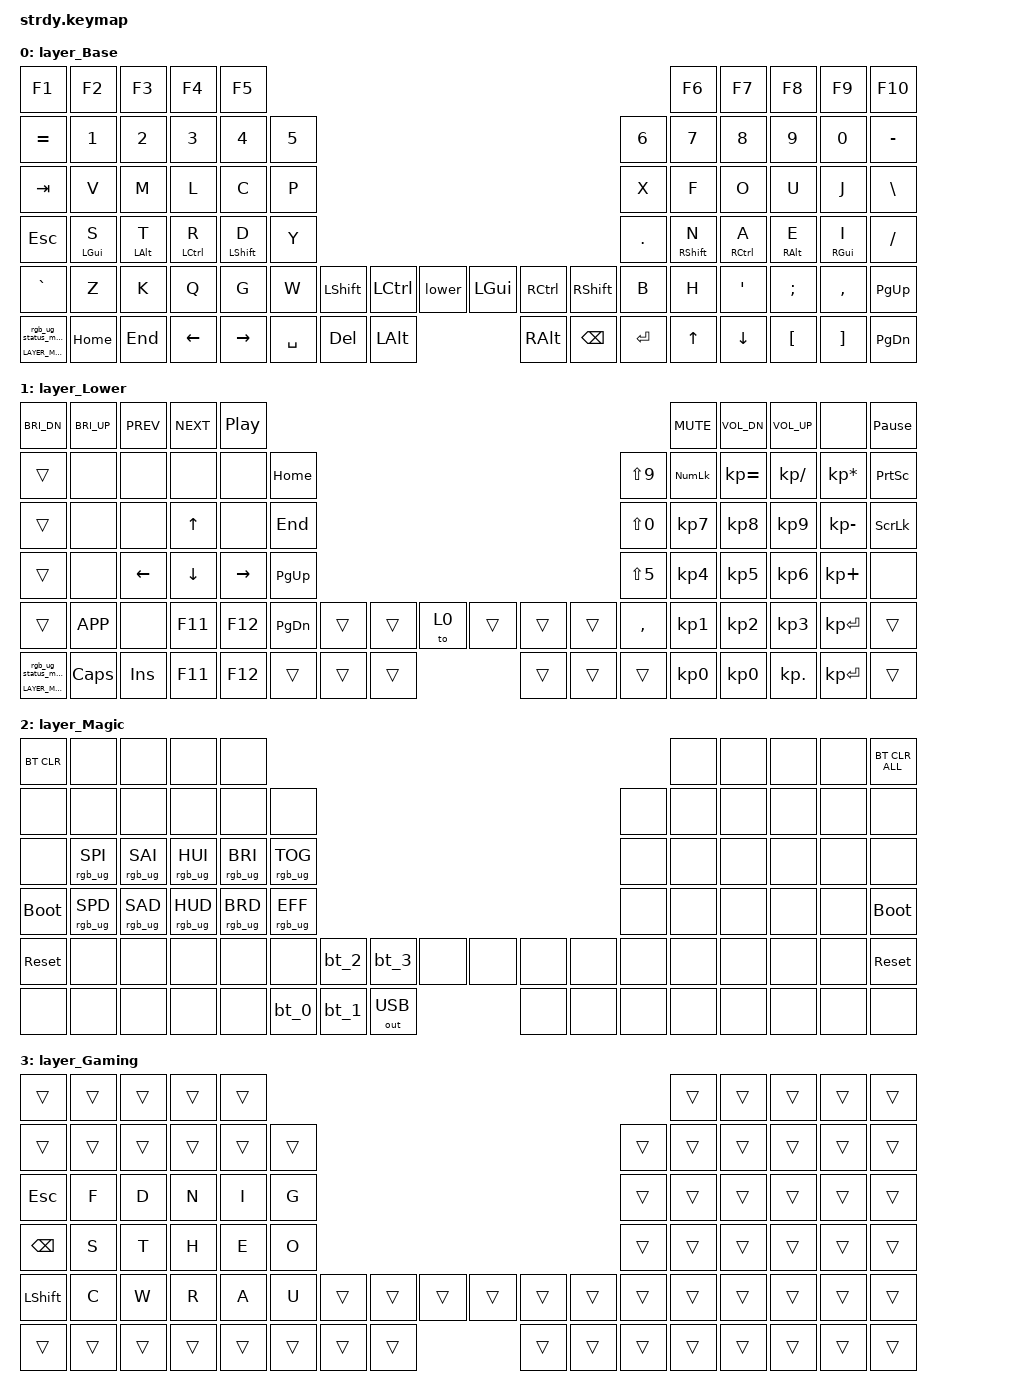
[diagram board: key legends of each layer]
/*
 * Copyright (c) 2020 The ZMK Contributors
 * Copyright (c) 2025 Innaworks Development Limited, trading as MoErgo
 *
 * SPDX-License-Identifier: MIT
 */


/* THIS FILE WAS GENERATED BY GLOVE80 LAYOUT EDITOR
 *
 * This file was generated automatically. You may or may not want to
 * edit it directly.
 */

#include <behaviors.dtsi>
/* Include all behavior includes needed */
#include <dt-bindings/zmk/outputs.h>
#include <dt-bindings/zmk/keys.h>
#include <dt-bindings/zmk/bt.h>
#include <dt-bindings/zmk/rgb.h>

/* On demand includes */


/* Helper Macros, based on https://github.com/urob/zmk-helpers/ */

#pragma once

#define ZMK_HELPER_STRINGIFY(x) #x

// Preprocessor mechanism to overload macros, cf. https://stackoverflow.com/a/27051616/6114651
#define VARGS_(_10, _9, _8, _7, _6, _5, _4, _3, _2, _1, N, ...) N
#define VARGS(...) VARGS_(__VA_ARGS__, 10, 9, 8, 7, 6, 5, 4, 3, 2, 1, 0)
#define CONCAT_(a, b) a##b
#define CONCAT(a, b) CONCAT_(a, b)

#define ZMK_BEHAVIOR_CORE_tap_dance  \
    compatible = "zmk,behavior-tap-dance"; \
    #binding-cells = <0>

#define ZMK_BEHAVIOR(name, type, ...) \
    name: name { \
        ZMK_BEHAVIOR_CORE_ ## type; \
        __VA_ARGS__ \
    };

#define ZMK_TAP_DANCE(name, ...) \
    ZMK_BEHAVIOR(name, tap_dance, __VA_ARGS__)

#define ZMK_TD_LAYER(name, layer) \
    ZMK_TAP_DANCE(name, \
        tapping-term-ms = <200>; \
        bindings = <&mo layer>, <&to layer>; \
)

/* Environment and metadata defines */
#define KB_TYPE_GLOVE_80 1
#define KB_TYPE_GO_60    2

#define KB_TYPE          KB_TYPE_GLOVE_80
#define EDITOR_HOST_OS   'L'

/* Automatically generated layer name defines */
#define LAYER_Base 0
#define LAYER_Lower 1
#define LAYER_Magic 2
#define LAYER_Gaming 3

/* To deal with the situation where there is no Lower layer, to keep &lower happy */
#ifndef LAYER_Lower
#define LAYER_Lower 0
#endif

/* Custom Device-tree */


/* Input Listeners */


/* System behavior and Macros */
/ {
    behaviors {
        ZMK_TD_LAYER(lower, LAYER_Lower)
    };
};

/ {
    macros {
        rgb_ug_status_macro: rgb_ug_status_macro {
            label = "RGB_UG_STATUS";
            compatible = "zmk,behavior-macro";
            #binding-cells = <0>;
            bindings
                = <&rgb_ug RGB_STATUS>;
        };
    };
};


/ {
#ifdef BT_DISC_CMD
    behaviors {
        bt_0: bt_0 {
            compatible = "zmk,behavior-tap-dance";
            label = "BT_0";
            #binding-cells = <0>;
            tapping-term-ms = <200>;
            bindings = <&bt_select_0>, <&bt BT_DISC 0>;
        };
        bt_1: bt_1 {
            compatible = "zmk,behavior-tap-dance";
            label = "BT_1";
            #binding-cells = <0>;
            tapping-term-ms = <200>;
            bindings = <&bt_select_1>, <&bt BT_DISC 1>;
        };
        bt_2: bt_2 {
            compatible = "zmk,behavior-tap-dance";
            label = "BT_2";
            #binding-cells = <0>;
            tapping-term-ms = <200>;
            bindings = <&bt_select_2>, <&bt BT_DISC 2>;
        };
        bt_3: bt_3 {
            compatible = "zmk,behavior-tap-dance";
            label = "BT_3";
            #binding-cells = <0>;
            tapping-term-ms = <200>;
            bindings = <&bt_select_3>, <&bt BT_DISC 3>;
        };
    };
    macros {
        bt_select_0: bt_select_0 {
            label = "BT_SELECT_0";
            compatible = "zmk,behavior-macro";
            #binding-cells = <0>;
            bindings
                = <&out OUT_BLE>,
                  <&bt BT_SEL 0>;
        };
        bt_select_1: bt_select_1 {
            label = "BT_SELECT_1";
            compatible = "zmk,behavior-macro";
            #binding-cells = <0>;
            bindings
                = <&out OUT_BLE>,
                  <&bt BT_SEL 1>;
        };
        bt_select_2: bt_select_2 {
            label = "BT_SELECT_2";
            compatible = "zmk,behavior-macro";
            #binding-cells = <0>;
            bindings
                = <&out OUT_BLE>,
                  <&bt BT_SEL 2>;
        };
        bt_select_3: bt_select_3 {
            label = "BT_SELECT_3";
            compatible = "zmk,behavior-macro";
            #binding-cells = <0>;
            bindings
                = <&out OUT_BLE>,
                  <&bt BT_SEL 3>;
        };
    };
#else
    macros {
        bt_0: bt_0 {
            label = "BT_0";
            compatible = "zmk,behavior-macro";
            #binding-cells = <0>;
            bindings
                = <&out OUT_BLE>,
                  <&bt BT_SEL 0>;
        };
        bt_1: bt_1 {
            label = "BT_1";
            compatible = "zmk,behavior-macro";
            #binding-cells = <0>;
            bindings
                = <&out OUT_BLE>,
                  <&bt BT_SEL 1>;
        };
        bt_2: bt_2 {
            label = "BT_2";
            compatible = "zmk,behavior-macro";
            #binding-cells = <0>;
            bindings
                = <&out OUT_BLE>,
                  <&bt BT_SEL 2>;
        };
        bt_3: bt_3 {
            label = "BT_3";
            compatible = "zmk,behavior-macro";
            #binding-cells = <0>;
            bindings
                = <&out OUT_BLE>,
                  <&bt BT_SEL 3>;
        };
    };
#endif
};

/ {
    behaviors {
        magic: magic {
            compatible = "zmk,behavior-hold-tap";
            label = "MAGIC_HOLD_TAP";
            #binding-cells = <2>;
            flavor = "tap-preferred";
            tapping-term-ms = <200>;
            bindings = <&mo>, <&rgb_ug_status_macro>;
        };
    };
};


/* Key positions */

#define POS_LH_C6R1 0
#define POS_LH_C5R1 1
#define POS_LH_C4R1 2
#define POS_LH_C3R1 3
#define POS_LH_C2R1 4
#define POS_RH_C2R1 5
#define POS_RH_C3R1 6
#define POS_RH_C4R1 7
#define POS_RH_C5R1 8
#define POS_RH_C6R1 9
#define POS_LH_C6R2 10
#define POS_LH_C5R2 11
#define POS_LH_C4R2 12
#define POS_LH_C3R2 13
#define POS_LH_C2R2 14
#define POS_LH_C1R2 15
#define POS_RH_C1R2 16
#define POS_RH_C2R2 17
#define POS_RH_C3R2 18
#define POS_RH_C4R2 19
#define POS_RH_C5R2 20
#define POS_RH_C6R2 21
#define POS_LH_C6R3 22
#define POS_LH_C5R3 23
#define POS_LH_C4R3 24
#define POS_LH_C3R3 25
#define POS_LH_C2R3 26
#define POS_LH_C1R3 27
#define POS_RH_C1R3 28
#define POS_RH_C2R3 29
#define POS_RH_C3R3 30
#define POS_RH_C4R3 31
#define POS_RH_C5R3 32
#define POS_RH_C6R3 33
#define POS_LH_C6R4 34
#define POS_LH_C5R4 35
#define POS_LH_C4R4 36
#define POS_LH_C3R4 37
#define POS_LH_C2R4 38
#define POS_LH_C1R4 39
#define POS_RH_C1R4 40
#define POS_RH_C2R4 41
#define POS_RH_C3R4 42
#define POS_RH_C4R4 43
#define POS_RH_C5R4 44
#define POS_RH_C6R4 45
#define POS_LH_C6R5 46
#define POS_LH_C5R5 47
#define POS_LH_C4R5 48
#define POS_LH_C3R5 49
#define POS_LH_C2R5 50
#define POS_LH_C1R5 51
#define POS_LH_T1 52
#define POS_LH_T2 53
#define POS_LH_T3 54
#define POS_RH_T3 55
#define POS_RH_T2 56
#define POS_RH_T1 57
#define POS_RH_C1R5 58
#define POS_RH_C2R5 59
#define POS_RH_C3R5 60
#define POS_RH_C4R5 61
#define POS_RH_C5R5 62
#define POS_RH_C6R5 63
#define POS_LH_C6R6 64
#define POS_LH_C5R6 65
#define POS_LH_C4R6 66
#define POS_LH_C3R6 67
#define POS_LH_C2R6 68
#define POS_LH_T4 69
#define POS_LH_T5 70
#define POS_LH_T6 71
#define POS_RH_T6 72
#define POS_RH_T5 73
#define POS_RH_T4 74
#define POS_RH_C2R6 75
#define POS_RH_C3R6 76
#define POS_RH_C4R6 77
#define POS_RH_C5R6 78
#define POS_RH_C6R6 79


/* Custom Defined Behaviors */
/ {
#define CONFIG_ZMK_COMBO_MAX_COMBOS_PER_KEY 25
};

/* Generated input processors */


/* Automatically generated macro definitions */
/ {
    macros {

    };
};

/* Automatically generated behavior definitions */
/ {
    behaviors {


        hmr: hmr {
            compatible = "zmk,behavior-hold-tap";
            #binding-cells = <2>;
            tapping-term-ms = <150>;
            bindings = <&kp>, <&kp>;
            flavor = "balanced";
            retro-tap;
            hold-trigger-key-positions = <POS_LH_T1 POS_LH_C6R1 POS_LH_C5R1 POS_LH_C4R1 POS_LH_C3R1 POS_LH_C2R1 POS_LH_C6R2 POS_LH_C5R2 POS_LH_C4R2 POS_LH_C3R2 POS_LH_C2R2 POS_LH_C1R2 POS_LH_C6R3 POS_LH_C5R3 POS_LH_C4R3 POS_LH_C3R3 POS_LH_C2R3 POS_LH_C1R3 POS_LH_C6R4 POS_LH_C5R4 POS_LH_C4R4 POS_LH_C3R4 POS_LH_C2R4 POS_LH_C1R4 POS_LH_C6R5 POS_LH_C5R5 POS_LH_C4R5 POS_LH_C3R5 POS_LH_C2R5 POS_LH_C1R5 POS_LH_T2 POS_LH_T3 POS_LH_C6R6 POS_LH_C5R6 POS_LH_C4R6 POS_LH_C3R6 POS_LH_C2R6 POS_LH_T4 POS_LH_T5 POS_LH_T6>;
            hold-trigger-on-release;
        };

        hml: hml {
            compatible = "zmk,behavior-hold-tap";
            #binding-cells = <2>;
            tapping-term-ms = <150>;
            bindings = <&kp>, <&kp>;
            flavor = "balanced";
            retro-tap;
            hold-trigger-key-positions = <POS_RH_C2R1 POS_RH_C3R1 POS_RH_C4R1 POS_RH_C5R1 POS_RH_C6R1 POS_RH_C1R2 POS_RH_C2R2 POS_RH_C3R2 POS_RH_C4R2 POS_RH_C5R2 POS_RH_C6R2 POS_RH_C1R3 POS_RH_C2R3 POS_RH_C3R3 POS_RH_C4R3 POS_RH_C5R3 POS_RH_C6R3 POS_RH_C1R4 POS_RH_C3R4 POS_RH_C4R4 POS_RH_C5R4 POS_RH_C6R4 POS_RH_T3 POS_RH_T2 POS_RH_C2R5 POS_RH_C3R5 POS_RH_C4R5 POS_RH_C5R5 POS_RH_C6R5 POS_RH_T6 POS_RH_T5 POS_RH_T4 POS_RH_C2R6 POS_RH_C3R6 POS_RH_C4R6 POS_RH_C5R6 POS_RH_C6R6 POS_RH_C2R4 POS_RH_C1R5 POS_RH_T1>;
            hold-trigger-on-release;
        };
    };
};

/* Automatically generated combos definitions */
/ {
    combos {
        compatible = "zmk,combos";

        combo_periodCmb {
            key-positions = <POS_LH_T4 POS_LH_C2R4>;
            bindings = <&kp DOT>;
            layers = <LAYER_Gaming>;
        };

        combo_JCmb {
            key-positions = <POS_LH_T4 POS_LH_C5R3>;
            bindings = <&kp DOT>;
            layers = <LAYER_Gaming>;
        };

        combo_KCmb {
            key-positions = <POS_LH_T4 POS_LH_C4R3>;
            bindings = <&kp DOT>;
            layers = <LAYER_Gaming>;
        };

        combo_MCmb {
            key-positions = <POS_LH_T4 POS_LH_C3R3>;
            bindings = <&kp DOT>;
            layers = <LAYER_Gaming>;
        };

        combo_ApostropheCmb {
            key-positions = <POS_LH_T4 POS_LH_C2R3>;
            bindings = <&kp DOT>;
            layers = <LAYER_Gaming>;
        };
    };
};

/* Automatically generated keymap */
/ {
    keymap {
        compatible = "zmk,keymap";


        layer_Base {
            bindings = <
               &kp F1       &kp F2       &kp F3        &kp F4        &kp F5                                                                                         &kp F6        &kp F7       &kp F8       &kp F9    &kp F10
            &kp EQUAL       &kp N1       &kp N2        &kp N3        &kp N4  &kp N5                                                                   &kp N6        &kp N7        &kp N8       &kp N9       &kp N0  &kp MINUS
              &kp TAB        &kp V        &kp M         &kp L         &kp C   &kp P                                                                    &kp X         &kp F         &kp O        &kp U        &kp J   &kp BSLH
              &kp ESC  &hml LGUI S  &hml LALT T  &hml LCTRL R  &hml LSHFT D   &kp Y                                                                  &kp DOT  &hmr RSHFT N  &hmr RCTRL A  &hmr RALT E  &hmr RGUI I   &kp FSLH
            &kp GRAVE        &kp Z        &kp K         &kp Q         &kp G   &kp W  &kp LSHFT  &kp LCTRL    &lower  &kp LGUI  &kp RCTRL  &kp RSHFT    &kp B         &kp H       &kp SQT     &kp SEMI    &kp COMMA  &kp PG_UP
 &magic LAYER_Magic 0     &kp HOME      &kp END      &kp LEFT     &kp RIGHT          &kp SPACE    &kp DEL  &kp LALT  &kp RALT   &kp BSPC    &kp RET                 &kp UP      &kp DOWN     &kp LBKT     &kp RBKT  &kp PG_DN
            >;
        };

        layer_Lower {
            bindings = <
         &kp C_BRI_DN  &kp C_BRI_UP      &kp C_PREV      &kp C_NEXT         &kp C_PP                                                                         &kp C_MUTE  &kp C_VOL_DN  &kp C_VOL_UP            &none  &kp PAUSE_BREAK
               &trans         &none           &none           &none            &none   &kp HOME                                                  &kp LS(N9)  &kp KP_NUM  &kp KP_EQUAL  &kp KP_SLASH  &kp KP_MULTIPLY  &kp PRINTSCREEN
               &trans         &none           &none    &kp UP_ARROW            &none    &kp END                                                  &kp LS(N0)   &kp KP_N7     &kp KP_N8     &kp KP_N9     &kp KP_MINUS   &kp SCROLLLOCK
               &trans         &none  &kp LEFT_ARROW  &kp DOWN_ARROW  &kp RIGHT_ARROW  &kp PG_UP                                                  &kp LS(N5)   &kp KP_N4     &kp KP_N5     &kp KP_N6      &kp KP_PLUS            &none
               &trans     &kp K_APP           &none         &kp F11          &kp F12  &kp PG_DN  &trans  &trans   &to 0  &trans  &trans  &trans   &kp COMMA   &kp KP_N1     &kp KP_N2     &kp KP_N3     &kp KP_ENTER           &trans
 &magic LAYER_Magic 0      &kp CAPS         &kp INS         &kp F11          &kp F12             &trans  &trans  &trans  &trans  &trans  &trans               &kp KP_N0     &kp KP_N0    &kp KP_DOT     &kp KP_ENTER           &trans
            >;
        };

        layer_Magic {
            bindings = <
  &bt BT_CLR            &none            &none            &none            &none                                                                                  &none   &none   &none   &none  &bt BT_CLR_ALL
       &none            &none            &none            &none            &none            &none                                                         &none   &none   &none   &none   &none           &none
       &none  &rgb_ug RGB_SPI  &rgb_ug RGB_SAI  &rgb_ug RGB_HUI  &rgb_ug RGB_BRI  &rgb_ug RGB_TOG                                                         &none   &none   &none   &none   &none           &none
 &bootloader  &rgb_ug RGB_SPD  &rgb_ug RGB_SAD  &rgb_ug RGB_HUD  &rgb_ug RGB_BRD  &rgb_ug RGB_EFF                                                         &none   &none   &none   &none   &none     &bootloader
  &sys_reset            &none            &none            &none            &none            &none   &bt_2   &bt_3         &none   &none   &none   &none   &none   &none   &none   &none   &none      &sys_reset
       &none            &none            &none            &none            &none                    &bt_0   &bt_1  &out OUT_USB   &none   &none   &none           &none   &none   &none   &none           &none
            >;
        };

        layer_Gaming {
            bindings = <
    &trans  &trans  &trans  &trans  &trans                                                                  &trans  &trans  &trans  &trans  &trans
    &trans  &trans  &trans  &trans  &trans  &trans                                                  &trans  &trans  &trans  &trans  &trans  &trans
   &kp ESC   &kp F   &kp D   &kp N   &kp I   &kp G                                                  &trans  &trans  &trans  &trans  &trans  &trans
  &kp BSPC   &kp S   &kp T   &kp H   &kp E   &kp O                                                  &trans  &trans  &trans  &trans  &trans  &trans
 &kp LSHFT   &kp C   &kp W   &kp R   &kp A   &kp U  &trans  &trans  &trans  &trans  &trans  &trans  &trans  &trans  &trans  &trans  &trans  &trans
    &trans  &trans  &trans  &trans  &trans          &trans  &trans  &trans  &trans  &trans  &trans          &trans  &trans  &trans  &trans  &trans
            >;
        };

    };
};
